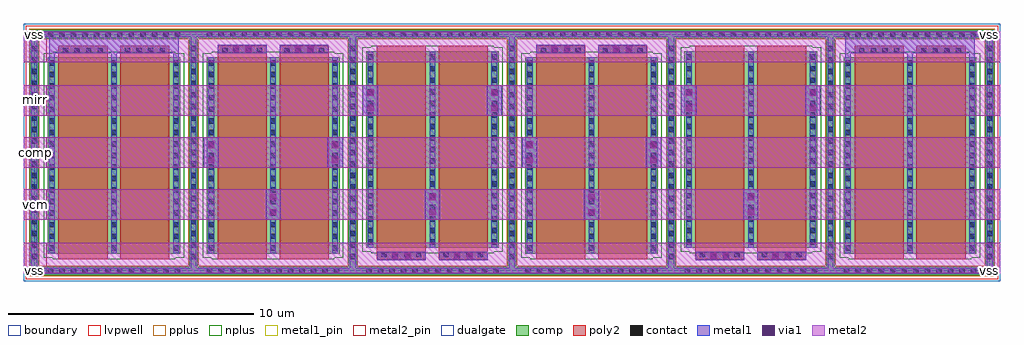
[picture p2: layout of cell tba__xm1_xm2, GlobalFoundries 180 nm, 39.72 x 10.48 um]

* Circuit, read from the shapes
.subckt tba__xm1_xm2 comp inn inp mirr vcm vss
XM1 vss vss vss vss nfet_06v0 w=8u l=2u m=4
XM2 vcm inp comp vss nfet_06v0 w=8u l=2u m=4
XM3 vcm inn mirr vss nfet_06v0 w=8u l=2u m=4
.ends

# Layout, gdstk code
from math import pi, radians
import gdstk
lib = gdstk.Library(unit=1e-6, precision=1e-09)
def R(c, l, rs):  # rectangles x0, y0, x1, y1
    for r in rs: c.add(gdstk.rectangle(r[:2], r[2:], *l))
def A(c, l, x, y, w, h, nx, ny, dx, dy):  # array of equal rectangles
    R(c, l, [(x+i*dx, y+j*dy, x+i*dx+w, y+j*dy+h) for i in range(nx) for j in range(ny)])
def P(c, l, *ps):  # polygons
    for p in ps: c.add(gdstk.Polygon(p, *l))
boundary = (0, 0)
comp = (22, 0)
poly2 = (30, 0)
pplus = (31, 0)
nplus = (32, 0)
contact = (33, 0)
metal1 = (34, 0)
metal1_pin = (34, 10)
via1 = (35, 0)
metal2 = (36, 0)
metal2_pin = (36, 10)
dualgate = (55, 0)
lvpwell = (204, 0)

via__m1_m2_min = lib.new_cell('via__M1_M2_MIN')
R(via__m1_m2_min, metal1, [(0,0,0.86,0.34)])
R(via__m1_m2_min, via1, [(0.04,0.04,0.3,0.3), (0.56,0.04,0.82,0.3)])
R(via__m1_m2_min, metal2, [(0,0,0.86,0.34)])

nfet_06v0_8u_2u_2nf = lib.new_cell('nfet_06v0_8u_2u_2nf')
R(nfet_06v0_8u_2u_2nf, boundary, [(0.42,0.42,6.9,10.06)])
R(nfet_06v0_8u_2u_2nf, comp, [(0.24,0.24,7.08,0.6), (0.24,0.6,0.6,9.88), (6.72,0.6,7.08,9.88), (0.96,1.12,6.36,9.12), (0.24,9.88,7.08,10.24)])
R(nfet_06v0_8u_2u_2nf, poly2, [(1.4,0.9,3.4,9.58), (3.92,0.9,5.92,9.58)])
P(nfet_06v0_8u_2u_2nf, pplus, [(0.21,0.21),(0.21,9.85),(0.63,9.85),(0.63,0.63),(6.69,0.63),(6.69,9.85),(0.21,9.85),(0.21,10.27),(7.11,10.27),(7.11,0.21)])
R(nfet_06v0_8u_2u_2nf, nplus, [(1.17,0.89,6.15,0.96), (0.8,0.96,6.52,9.28), (1.17,9.28,6.15,9.35)])
A(nfet_06v0_8u_2u_2nf, contact, 0.965, 0.31, 0.22, 0.22, 12, 2, 0.47, 9.64)
A(nfet_06v0_8u_2u_2nf, contact, 0.31, 0.9, 0.22, 0.22, 1, 19, 0, 0.47)
A(nfet_06v0_8u_2u_2nf, contact, 6.79, 0.9, 0.22, 0.22, 1, 19, 0, 0.47)
A(nfet_06v0_8u_2u_2nf, contact, 1.03, 1.25, 0.22, 0.22, 3, 17, 2.52, 0.47)
A(nfet_06v0_8u_2u_2nf, contact, 1.585, 9.29, 0.22, 0.22, 4, 1, 0.47, 0)
A(nfet_06v0_8u_2u_2nf, contact, 4.105, 9.29, 0.22, 0.22, 4, 1, 0.47, 0)
A(nfet_06v0_8u_2u_2nf, metal1, 1.025, 1.13, 0.23, 7.98, 3, 1, 2.52, 0)
R(nfet_06v0_8u_2u_2nf, metal1, [(0.305,0.305,7.015,0.535), (0.305,0.535,0.535,9.945), (6.785,0.535,7.015,9.945), (1.41,9.285,3.39,9.515), (3.93,9.285,5.91,9.515), (0.305,9.945,7.015,10.175)])
R(nfet_06v0_8u_2u_2nf, dualgate, [(0,0,7.32,10.48)])
R(nfet_06v0_8u_2u_2nf, lvpwell, [(0.08,0.08,7.24,10.4)])

via__m1_m2_squ = lib.new_cell('via__M1_M2_SQU')
R(via__m1_m2_squ, metal1, [(0,0,1.24,0.62), (0,0,1.24,0.62)])
R(via__m1_m2_squ, via1, [(0.18,0.18,0.44,0.44), (0.18,0.18,0.44,0.44), (0.8,0.18,1.06,0.44), (0.8,0.18,1.06,0.44)])
R(via__m1_m2_squ, metal2, [(0,0,1.24,0.62), (0,0,1.24,0.62)])

tba__xm1_xm2 = lib.new_cell('tba__xm1_xm2')
R(tba__xm1_xm2, metal1, [(14.37,0.855,16.35,1.195), (14.93,0.855,15.79,1.195), (16.89,0.855,18.87,1.195), (27.33,0.855,29.31,1.195), (29.85,0.855,31.83,1.195), (7.89,9.285,9.87,9.625), (10.41,9.285,12.39,9.625), (20.85,9.285,22.83,9.625), (23.37,9.285,25.35,9.625), (1.025,9.515,6.295,9.945), (33.425,9.515,38.695,9.945)])
P(tba__xm1_xm2, metal1, [(1.025,9.11),(1.025,9.515),(1.41,9.515),(1.41,9.285),(1.255,9.285),(1.255,9.11)],
  [(6.065,9.11),(6.065,9.285),(5.91,9.285),(5.91,9.515),(6.295,9.515),(6.295,9.11)],
  [(3.545,9.11),(3.545,9.515),(3.93,9.515),(3.93,9.285),(3.775,9.285),(3.775,9.11)],
  [(3.545,9.11),(3.545,9.285),(3.39,9.285),(3.39,9.515),(3.775,9.515),(3.775,9.11)],
  [(33.425,9.11),(33.425,9.515),(33.81,9.515),(33.81,9.285),(33.655,9.285),(33.655,9.11)],
  [(38.465,9.11),(38.465,9.285),(38.31,9.285),(38.31,9.515),(38.695,9.515),(38.695,9.11)],
  [(35.945,9.11),(35.945,9.515),(36.33,9.515),(36.33,9.285),(36.175,9.285),(36.175,9.11)],
  [(35.945,9.11),(35.945,9.285),(35.79,9.285),(35.79,9.515),(36.175,9.515),(36.175,9.11)])
R(tba__xm1_xm2, metal1_pin, [(0.305,0.305,0.535,0.535), (39.185,0.305,39.415,0.535), (0.305,9.945,0.535,10.175), (39.185,9.945,39.415,10.175)])
A(tba__xm1_xm2, metal2, 0, 2.5, 39.72, 1.24, 1, 3, 0, 2.12)
R(tba__xm1_xm2, metal2, [(0,0.325,39.72,1.565), (0,8.915,39.72,10.155)])
A(tba__xm1_xm2, metal2_pin, 0, 2.5, 0.92, 1.24, 1, 3, 0, 2.12)
R(tba__xm1_xm2, metal2_pin, [(0,0.325,0.92,1.565), (0,8.915,0.92,10.155)])
tba__xm1_xm2.add(gdstk.Reference(via__m1_m2_min, (14.93,0.855)))
tba__xm1_xm2.add(gdstk.Reference(via__m1_m2_min, (30.41,0.855)))
tba__xm1_xm2.add(gdstk.Reference(via__m1_m2_min, (27.89,0.855)))
tba__xm1_xm2.add(gdstk.Reference(via__m1_m2_min, (17.45,0.855)))
tba__xm1_xm2.add(gdstk.Reference(via__m1_m2_min, (10.97,9.285)))
tba__xm1_xm2.add(gdstk.Reference(via__m1_m2_min, (8.45,9.285)))
tba__xm1_xm2.add(gdstk.Reference(via__m1_m2_min, (21.41,9.285)))
tba__xm1_xm2.add(gdstk.Reference(via__m1_m2_min, (23.93,9.285)))
r = gdstk.Reference(nfet_06v0_8u_2u_2nf, (0,0)); r.repetition = gdstk.Repetition(1, 1, v1=(0,0), v2=(0,0)); tba__xm1_xm2.add(r)
r = gdstk.Reference(nfet_06v0_8u_2u_2nf, (6.48,0)); r.repetition = gdstk.Repetition(1, 1, v1=(0,0), v2=(0,0)); tba__xm1_xm2.add(r)
r = gdstk.Reference(nfet_06v0_8u_2u_2nf, (20.28,10.48), rotation=pi); r.repetition = gdstk.Repetition(1, 1, v1=(0,0), v2=(0,0)); tba__xm1_xm2.add(r)
r = gdstk.Reference(nfet_06v0_8u_2u_2nf, (19.44,0)); r.repetition = gdstk.Repetition(1, 1, v1=(0,0), v2=(0,0)); tba__xm1_xm2.add(r)
r = gdstk.Reference(nfet_06v0_8u_2u_2nf, (33.24,10.48), rotation=pi); r.repetition = gdstk.Repetition(1, 1, v1=(0,0), v2=(0,0)); tba__xm1_xm2.add(r)
r = gdstk.Reference(nfet_06v0_8u_2u_2nf, (32.4,0)); r.repetition = gdstk.Repetition(1, 1, v1=(0,0), v2=(0,0)); tba__xm1_xm2.add(r)
tba__xm1_xm2.add(gdstk.Reference(via__m1_m2_squ, (16.31,3.74), rotation=3*pi/2))
tba__xm1_xm2.add(gdstk.Reference(via__m1_m2_squ, (22.79,3.74), rotation=3*pi/2))
tba__xm1_xm2.add(gdstk.Reference(via__m1_m2_squ, (9.83,3.74), rotation=3*pi/2))
tba__xm1_xm2.add(gdstk.Reference(via__m1_m2_squ, (29.27,3.74), rotation=3*pi/2))
tba__xm1_xm2.add(gdstk.Reference(via__m1_m2_squ, (14.41,7.98), rotation=3*pi/2, x_reflection=True))
tba__xm1_xm2.add(gdstk.Reference(via__m1_m2_squ, (25.31,5.86), rotation=3*pi/2))
tba__xm1_xm2.add(gdstk.Reference(via__m1_m2_squ, (19.45,7.98), rotation=3*pi/2, x_reflection=True))
tba__xm1_xm2.add(gdstk.Reference(via__m1_m2_squ, (27.37,7.98), rotation=3*pi/2, x_reflection=True))
tba__xm1_xm2.add(gdstk.Reference(via__m1_m2_squ, (32.41,7.98), rotation=3*pi/2, x_reflection=True))
tba__xm1_xm2.add(gdstk.Reference(via__m1_m2_squ, (20.27,5.86), rotation=3*pi/2))
tba__xm1_xm2.add(gdstk.Reference(via__m1_m2_squ, (12.35,5.86), rotation=3*pi/2))
tba__xm1_xm2.add(gdstk.Reference(via__m1_m2_squ, (7.31,5.86), rotation=3*pi/2))
tba__xm1_xm2.add(gdstk.Label('vss', (0.42,10.06), layer=34, texttype=10))
tba__xm1_xm2.add(gdstk.Label('vss', (0.42,0.42), layer=34, texttype=10))
tba__xm1_xm2.add(gdstk.Label('vss', (39.3,10.06), layer=34, texttype=10))
tba__xm1_xm2.add(gdstk.Label('vss', (39.3,0.42), layer=34, texttype=10))
tba__xm1_xm2.add(gdstk.Label('inp', (0.485,9.555), layer=36, texttype=10))
tba__xm1_xm2.add(gdstk.Label('inn', (0.485,0.965), layer=36, texttype=10))
tba__xm1_xm2.add(gdstk.Label('vcm', (0.485,3.14), layer=36, texttype=10))
tba__xm1_xm2.add(gdstk.Label('comp', (0.485,5.26), layer=36, texttype=10))
tba__xm1_xm2.add(gdstk.Label('mirr', (0.485,7.38), layer=36, texttype=10))

lib.write_gds('tba__xm1_xm2.gds')
